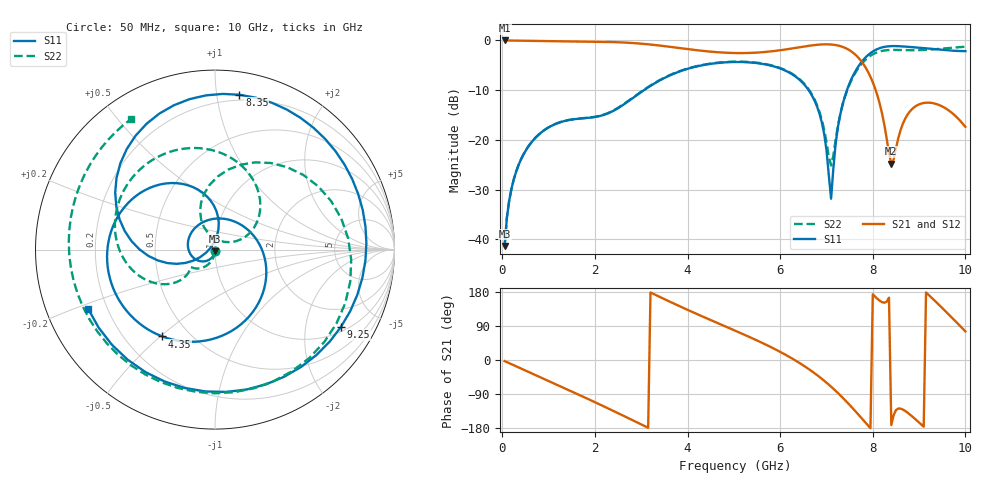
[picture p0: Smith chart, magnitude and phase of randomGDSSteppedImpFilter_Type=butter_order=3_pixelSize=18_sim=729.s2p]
! freq	dB(S11)	phase(S11)	dB(S12)	phase(S12)
!  dB(S21)	phase(S21)	dB(S22)	phase(S22)
!S-par simulation data
#  GHz  S  DB  R 50
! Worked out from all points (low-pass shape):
!   200 points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, 50 MHz to 10 GHz, reference 50 ohm
!   highest |S21| = -0.01 dB at 50 MHz (marker M1); lowest = -24.8 dB at 8.4 GHz (marker M2)
!   |S21| within 3 dB of the highest: start of sweep to 7.64 GHz
!   lowest |S11| = -41.4 dB at 50 MHz (marker M3), VSWR 1.02, Z = 50 - j0.852 ohm
!   |S11| at or under -10 dB: start of sweep to 3.06 GHz; 6.614 GHz to 7.442 GHz (828.2 MHz wide, 11.8 % of centre)
!   |S22| runs from -41.4 to -1.3 dB; largest |S21 - S12| = 0
!   S11 on the Smith chart (normalised r, x): 50 MHz: 1.00, -0.02; 4.35 GHz: 0.36, -0.51; 8.35 GHz: 0.16, +1.16; 9.25 GHz: 1.17, -3.14; 10 GHz: 0.13, -0.22
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0.05  -41.38 -91.1  -0.01 -2.8  -0.01 -2.8  -41.40 -90.4
0.2  -29.77 -103.7  -0.02 -11.2  -0.02 -11.2  -29.74 -97.7
0.5  -22.26 -126.2  -0.06 -27.9  -0.06 -27.9  -22.22 -110.8
1.15  -16.81 -175.8  -0.17 -63.8  -0.17 -63.8  -16.79 -133.1
1.75  -15.66 128.1  -0.23 -97.1  -0.23 -97.1  -15.64 -143.8
2.65  -12.72 18.0  -0.43 -149.2  -0.43 -149.2  -12.63 -137.8
3.4  -8.05 -55.1  -1.03 166.4  -1.03 166.4  -7.98 -153.2
4.35  -4.94 -121.3  -2.13 113.4  -2.13 113.4  -4.88 167.8
5.05  -4.33 -162.0  -2.54 76.2  -2.54 76.2  -4.27 135.1
5.9  -5.32 149.0  -2.10 27.9  -2.10 27.9  -5.24 89.0
6.7  -11.31 94.9  -0.98 -31.0  -0.98 -31.0  -11.11 33.0
6.95  -18.78 80.3  -0.79 -54.6  -0.79 -54.6  -17.94 21.7
7.1  -31.84 151.9  -0.82 -70.4  -0.82 -70.4  -25.16 69.6
7.3  -14.80 -155.8  -1.15 -93.3  -1.15 -93.3  -14.76 114.9
7.8  -3.87 150.2  -4.80 -159.4  -4.80 -159.4  -4.29 48.8
8.1  -1.74 112.2  -11.08 161.5  -11.08 161.5  -2.37 -4.2
8.35  -1.17 81.0  -22.76 164.5  -22.76 164.5  -1.93 -48.8
8.4  -1.15 75.0  -24.78 -171.7  -24.78 -171.7  -1.91 -57.4
8.85  -1.35 21.2  -13.80 -148.7  -13.80 -148.7  -1.98 -126.0
9.25  -1.69 -31.5  -12.56 166.8  -12.56 166.8  -1.84 -172.9
9.65  -2.02 -93.8  -14.16 119.0  -14.16 119.0  -1.53 150.0
10  -2.16 -155.0  -17.39 75.4  -17.39 75.4  -1.26 122.8
